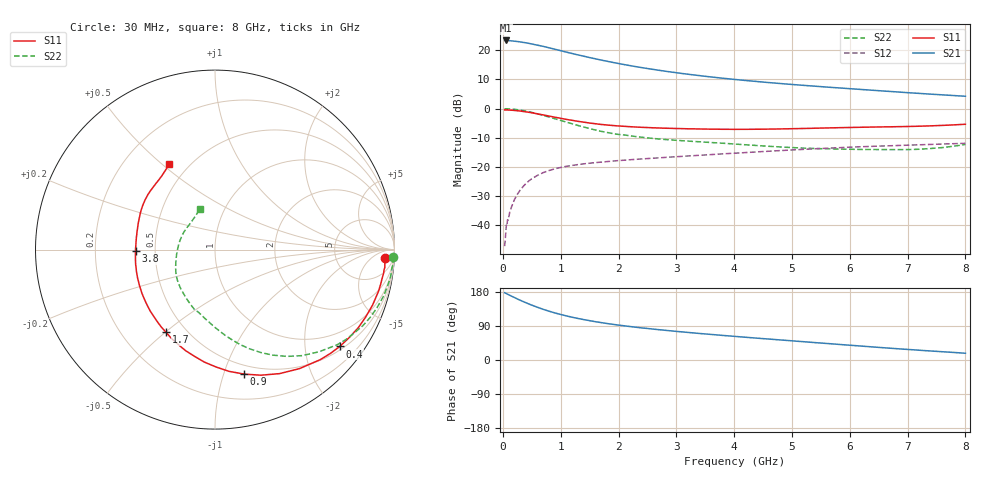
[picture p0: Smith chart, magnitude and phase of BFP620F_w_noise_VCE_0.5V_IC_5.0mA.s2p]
! Infineon Technologies  Discrete & RF Semiconductors
! BFP620F
! VCE =  0.5 V,  IC =  5.0 mA
! Common Emitter S-Parameters:  Dec 2014
# GHz  S  MA  R  50
!  f  S11  S21  S12  S22
! GHz  MAG  ANG  MAG  ANG  MAG  ANG  MAG  ANG
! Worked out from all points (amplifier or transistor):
!   95 points, 30 MHz to 8 GHz, reference 50 ohm
!   highest |S21| = 23.4 dB at 50 MHz (marker M1)
!   |S21| within 3 dB of that: start of sweep to 897.5 MHz
!   unconditionally stable (mu >= 1): 5.069 GHz to end of sweep
!   at 300 MHz: K = 0.09, MSG = 25.4 dB, |S12| = -27.9 dB
!   at 3.3 GHz: K = 0.84, MSG = 13.8 dB, |S12| = -16.1 dB
!   at 8 GHz: K = 1.13, MAG = 5.8 dB, |S12| = -11.9 dB
!   lowest NFmin = 0.52 dB at 450 MHz
!   S11 on the Smith chart (normalised r, x): 30 MHz: 20, -20; 400 MHz: 0.59, -2.81; 900 MHz: 0.42, -1.17; 1.7 GHz: 0.39, -0.50; 3.8 GHz: 0.39, -0.01; 8 GHz: 0.39, +0.53
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0.03  0.9502 -2.9  14.67 177.5  0.0044 92.9  0.9942 -2.4
0.05  0.9496 -5.0  14.72 176.0  0.0076 88.3  0.9936 -3.8
0.15  0.9393 -14.6  14.49 168.5  0.0208 81.9  0.9829 -12.0
0.25  0.9197 -24.1  14.13 161.1  0.034 77.5  0.9588 -19.8
0.4  0.8802 -37.8  13.4 151.0  0.0522 69.5  0.9038 -31.0
0.5  0.8484 -46.3  12.81 144.8  0.0628 65.1  0.8621 -38.0
0.6  0.8133 -54.6  12.21 139.0  0.072 60.7  0.8131 -44.4
0.7  0.779 -62.5  11.63 133.6  0.0802 56.9  0.7654 -50.5
0.9  0.7126 -76.8  10.4 124.2  0.0931 50.8  0.6711 -61.2
1.1  0.6535 -89.6  9.287 116.3  0.1027 46.0  0.586 -70.7
1.2  0.6296 -95.4  8.787 112.8  0.1065 44.2  0.549 -75.0
1.4  0.5862 -106.3  7.902 106.6  0.1133 41.1  0.4836 -82.9
1.7  0.5356 -120.6  6.79 98.7  0.1212 38.0  0.4082 -94.2
1.9  0.5137 -128.9  6.195 94.2  0.1262 36.5  0.3742 -101.3
2.2  0.4901 -139.9  5.455 88.3  0.1331 34.4  0.3425 -111.7
2.7  0.4658 -154.7  4.537 80.0  0.1435 32.4  0.3017 -125.5
3.2  0.4511 -166.9  3.886 72.8  0.1544 30.7  0.2779 -136.7
3.8  0.4426 -179.0  3.321 64.9  0.1678 28.8  0.2555 -148.2
4.1  0.442 175.5  3.099 61.2  0.1743 27.8  0.2439 -153.9
5.4  0.4618 154.6  2.422 45.9  0.205 22.3  0.2076 178.2
6.7  0.4881 136.0  1.967 31.1  0.2312 15.4  0.1983 147.0
8  0.5398 118.5  1.629 17.8  0.2545 8.5  0.2431 110.1
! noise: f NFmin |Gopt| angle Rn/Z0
0.45  0.52  0.46  9  0.28
0.9  0.59  0.43  20  0.24
1.5  0.66  0.38  26  0.22
1.8  0.7  0.36  30  0.21
1.9  0.71  0.31  42  0.23
2.4  0.77  0.28  56  0.21
3.5  0.9  0.27  77  0.16
5.5  1.12  0.18  155  0.13
6  1.17  0.14  173  0.25
